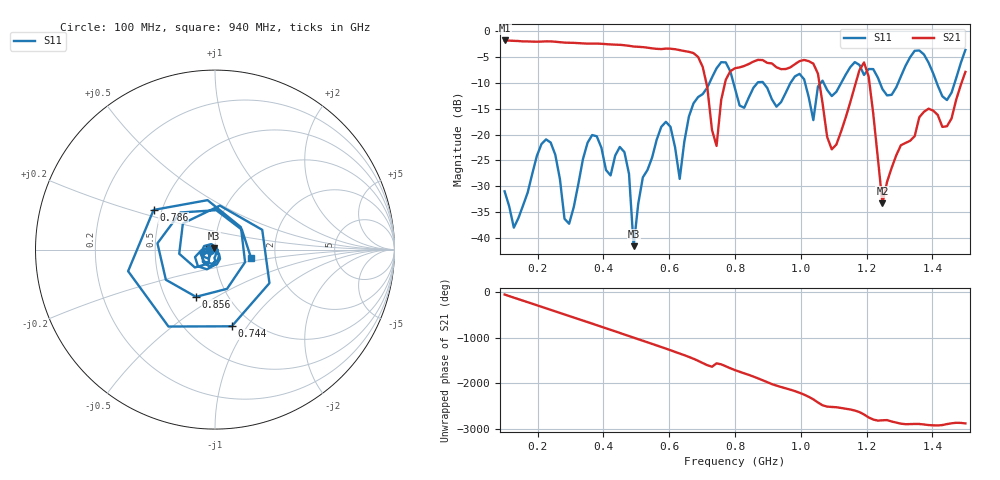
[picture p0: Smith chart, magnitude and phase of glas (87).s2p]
! NanoVNA-App
! Date: 2025-09-25 15:56:09
! Start: 100MHz Stop: 1,5GHz Points: 101
! S-Parameter data: F S11 S21 S12 S22
# Hz S RI R 50
!  Frequency  S11_Real  S11_Imag  S21_Real  S21_Imag  S12_Real  S12_Imag  S22_Real  S22_Imag
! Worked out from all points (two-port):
!   101 points, 100 MHz to 1.5 GHz, reference 50 ohm
!   highest |S21| = -1.80 dB at 100 MHz (marker M1); lowest = -33.3 dB at 1.248 GHz (marker M2)
!   |S21| within 3 dB of the highest: start of sweep to 684.2 MHz
!   lowest |S11| = -41.6 dB at 492 MHz (marker M3), VSWR 1.02, Z = 49.5 + j0.634 ohm
!   |S11| at or under -10 dB: start of sweep to 722.5 MHz; 795.3 MHz to 868.2 MHz (72.91 MHz wide, 8.77 % of centre); 886.1 MHz to 968.7 MHz (82.6 MHz wide, 8.91 % of centre) (the widest 3 of 7)
!   S12 and S22 are empty: the file has one direction only
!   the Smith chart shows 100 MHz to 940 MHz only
!   S11 on the Smith chart (normalised r, x): 100 MHz: 0.95, -0.01; 744 MHz: 0.80, -0.85; 786 MHz: 0.45, +0.24; 856 MHz: 0.71, -0.41; 940 MHz: 1.49, -0.14
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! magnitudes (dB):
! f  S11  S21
! 100 MHz  -31.0  -1.8
! 128 MHz  -38.0  -1.9
! 226 MHz  -20.9  -2.0
! 296 MHz  -37.2  -2.2
! 338 MHz  -24.7  -2.4
! 464 MHz  -23.4  -2.7
! 492 MHz  -41.6  -3.0
! 576 MHz  -18.5  -3.5
! 632 MHz  -28.6  -3.7
! 702 MHz  -12.2  -6.9
! 744 MHz  -7.2  -22.2
! 786 MHz  -7.8  -7.7
! 800 MHz  -11.1  -7.2
! 856 MHz  -10.9  -5.9
! 940 MHz  -13.7  -7.3
! 1.038 GHz  -17.2  -6.3
! 1.094 GHz  -12.5  -22.8
! 1.192 GHz  -8.5  -6.0
! 1.248 GHz  -11.2  -33.3
! 1.276 GHz  -12.3  -26.4
! 1.444 GHz  -13.3  -18.4
! 1.5 GHz  -3.6  -7.9
